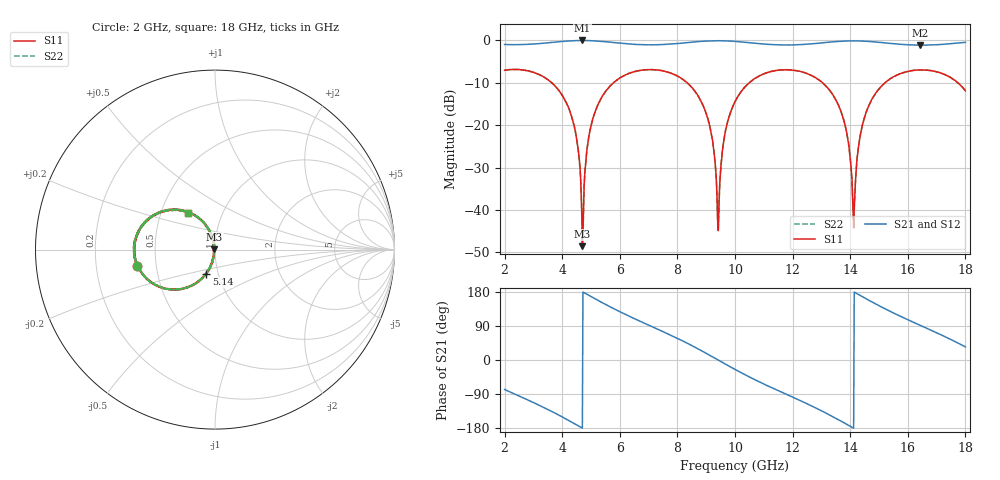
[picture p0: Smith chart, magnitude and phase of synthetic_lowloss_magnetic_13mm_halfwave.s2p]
! SYNTHETIC DEMONSTRATION DATA - generated by examples/make_synthetic_s2p.py (nrw.forward ABCD cascade)
! eps model: (4-0.004j)
! mu model: (1.5-0.003j)
! length_m: 0.013
! geometry: 7 mm coax (TEM)
! noise: circular complex Gaussian, rms 1e-3, seed 2026
# HZ S RI R 50
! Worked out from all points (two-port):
!   801 points, 2 GHz to 18 GHz, reference 50 ohm
!   highest |S21| = -0.03 dB at 4.7 GHz (marker M1); lowest = -1.1 dB at 16.42 GHz (marker M2)
!   |S21| within 3 dB of the highest: start of sweep to end of sweep
!   lowest |S11| = -48.5 dB at 4.7 GHz (marker M3), VSWR 1.01, Z = 49.7 + j0.141 ohm
!   |S11| at or under -10 dB: 3.636 GHz to 5.782 GHz (2.146 GHz wide, 45.6 % of centre); 8.338 GHz to 10.5 GHz (2.161 GHz wide, 22.9 % of centre); 13.04 GHz to 15.21 GHz (2.171 GHz wide, 15.4 % of centre)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
!   |S22| runs from -48.2 to -6.8 dB; largest |S21 - S12| = 0.0032
!   S11 on the Smith chart (normalised r, x): 2 GHz: 0.39, -0.09; 5.14 GHz: 0.88, -0.24; 18 GHz: 0.68, +0.30
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2e9  -0.4339 -0.0927  0.188 -0.8735  0.1883 -0.8739  -0.4327 -0.0928
4.02e9  -0.108 0.191  -0.8496 -0.47  -0.8487 -0.4717  -0.1079 0.1901
4.46e9  -0.0171 0.0826  -0.975 -0.1823  -0.9746 -0.1834  -0.0175 0.0797
4.68e9  -0.00305 0.00887  -0.995 -0.0209  -0.9946 -0.0203  -0.00166 0.00854
4.7e9  -0.00347 0.00142  -0.9964 -0.00511  -0.9949 -0.00667  -0.00269 0.00279
4.9e9  -0.0106 -0.0636  -0.9809 0.1437  -0.9813 0.143  -0.0117 -0.0629
5.14e9  -0.0487 -0.1352  -0.9335 0.311  -0.9349 0.3119  -0.0484 -0.1348
6.12e9  -0.3178 -0.2045  -0.4986 0.7714  -0.4996 0.7713  -0.319 -0.2053
7.34e9  -0.4384 0.0731  0.147 0.8754  0.1485 0.8751  -0.4397 0.0724
8.88e9  -0.0716 0.1584  0.8993 0.3757  0.9003 0.3754  -0.0717 0.1586
9.2e9  -0.0169 0.0703  0.9743 0.1579  0.9741 0.1569  -0.0156 0.0693
9.42e9  -0.00534 -0.002  0.9897 -0.00353  0.9889 -0.00344  -0.0056 -0.00155
9.66e9  -0.0196 -0.0795  0.9697 -0.1799  0.97 -0.1791  -0.0198 -0.0801
1e10  -0.0827 -0.1706  0.8813 -0.4069  0.8816 -0.4065  -0.0823 -0.1698
1.122e10  -0.4031 -0.1366  0.2895 -0.8461  0.2884 -0.8464  -0.4039 -0.1367
1.268e10  -0.3263 0.1983  -0.482 -0.7743  -0.4821 -0.7739  -0.326 0.1994
1.368e10  -0.0541 0.1338  -0.9229 -0.3134  -0.9216 -0.3132  -0.0531 0.1343
1.412e10  -0.00608 0.000974  -0.9841 -0.0012  -0.9825 -0.00161  -0.00747 0.00162
1.45e10  -0.0406 -0.117  -0.9385 0.2721  -0.9385 0.2719  -0.0422 -0.1172
1.534e10  -0.2641 -0.2177  -0.5952 0.7063  -0.5965 0.7049  -0.2641 -0.2174
1.642e10  -0.4482 -0.0149  -0.0287 0.8765  -0.0283 0.8777  -0.4475 -0.0148
1.8e10  -0.1507 0.2044  0.7792 0.538  0.7808 0.5386  -0.1508 0.2045
